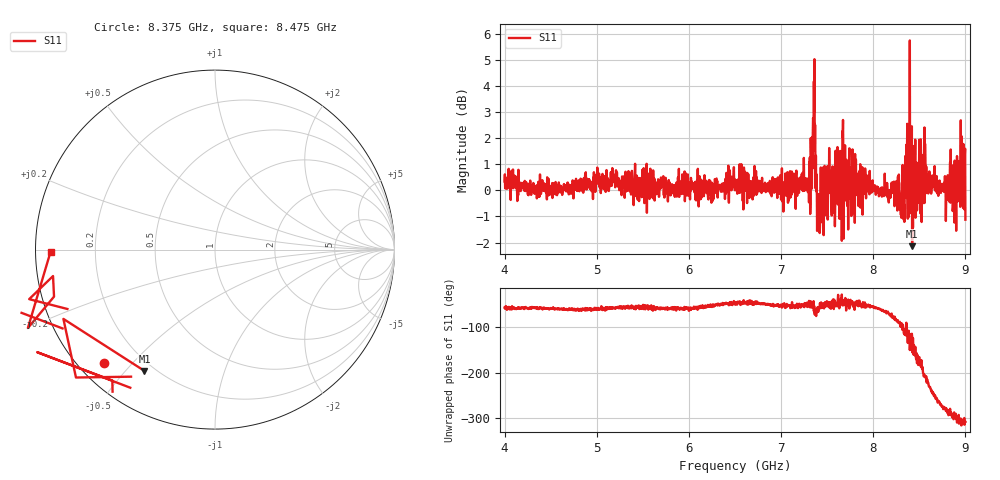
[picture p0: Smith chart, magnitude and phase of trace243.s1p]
! Created with skrf 1.8.0 (http://scikit-rf.org).
# Hz S RI R 50.0
!freq ReS11 ImS11
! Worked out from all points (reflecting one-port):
!   1601 points, 4 GHz to 9 GHz, reference 50 ohm
!   lowest |S11| = -2.1 dB at 8.422 GHz (marker M1), VSWR 8.17, Z = 8.11 - j28.2 ohm
!   phase of S11 starts at -56 deg and turns -253 deg over the sweep
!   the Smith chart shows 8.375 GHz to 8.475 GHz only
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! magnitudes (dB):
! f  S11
! 4 GHz  0.3
! 4.625 GHz  -0.2
! 5.25 GHz  0.1
! 5.875 GHz  0.0
! 6.5 GHz  0.0
! 7.125 GHz  0.3
! 7.294 GHz  0.3
! 7.316 GHz  -0.9
! 7.347 GHz  2.8
! 7.369 GHz  2.5
! 7.397 GHz  -0.6
! 7.412 GHz  -0.7
! 7.516 GHz  -0.1
! 7.562 GHz  0.2
! 7.688 GHz  1.3
! 7.703 GHz  -0.4
! 7.75 GHz  0.0
! 8.259 GHz  0.1
! 8.316 GHz  -0.4
! 8.375 GHz  -1.1
! 8.422 GHz  -2.1
! 8.425 GHz  -0.6
! 8.447 GHz  1.5
! 8.556 GHz  2.4
! 8.606 GHz  0.0
! 8.8 GHz  -0.3
! 8.972 GHz  0.3
! 9 GHz  -1.1
